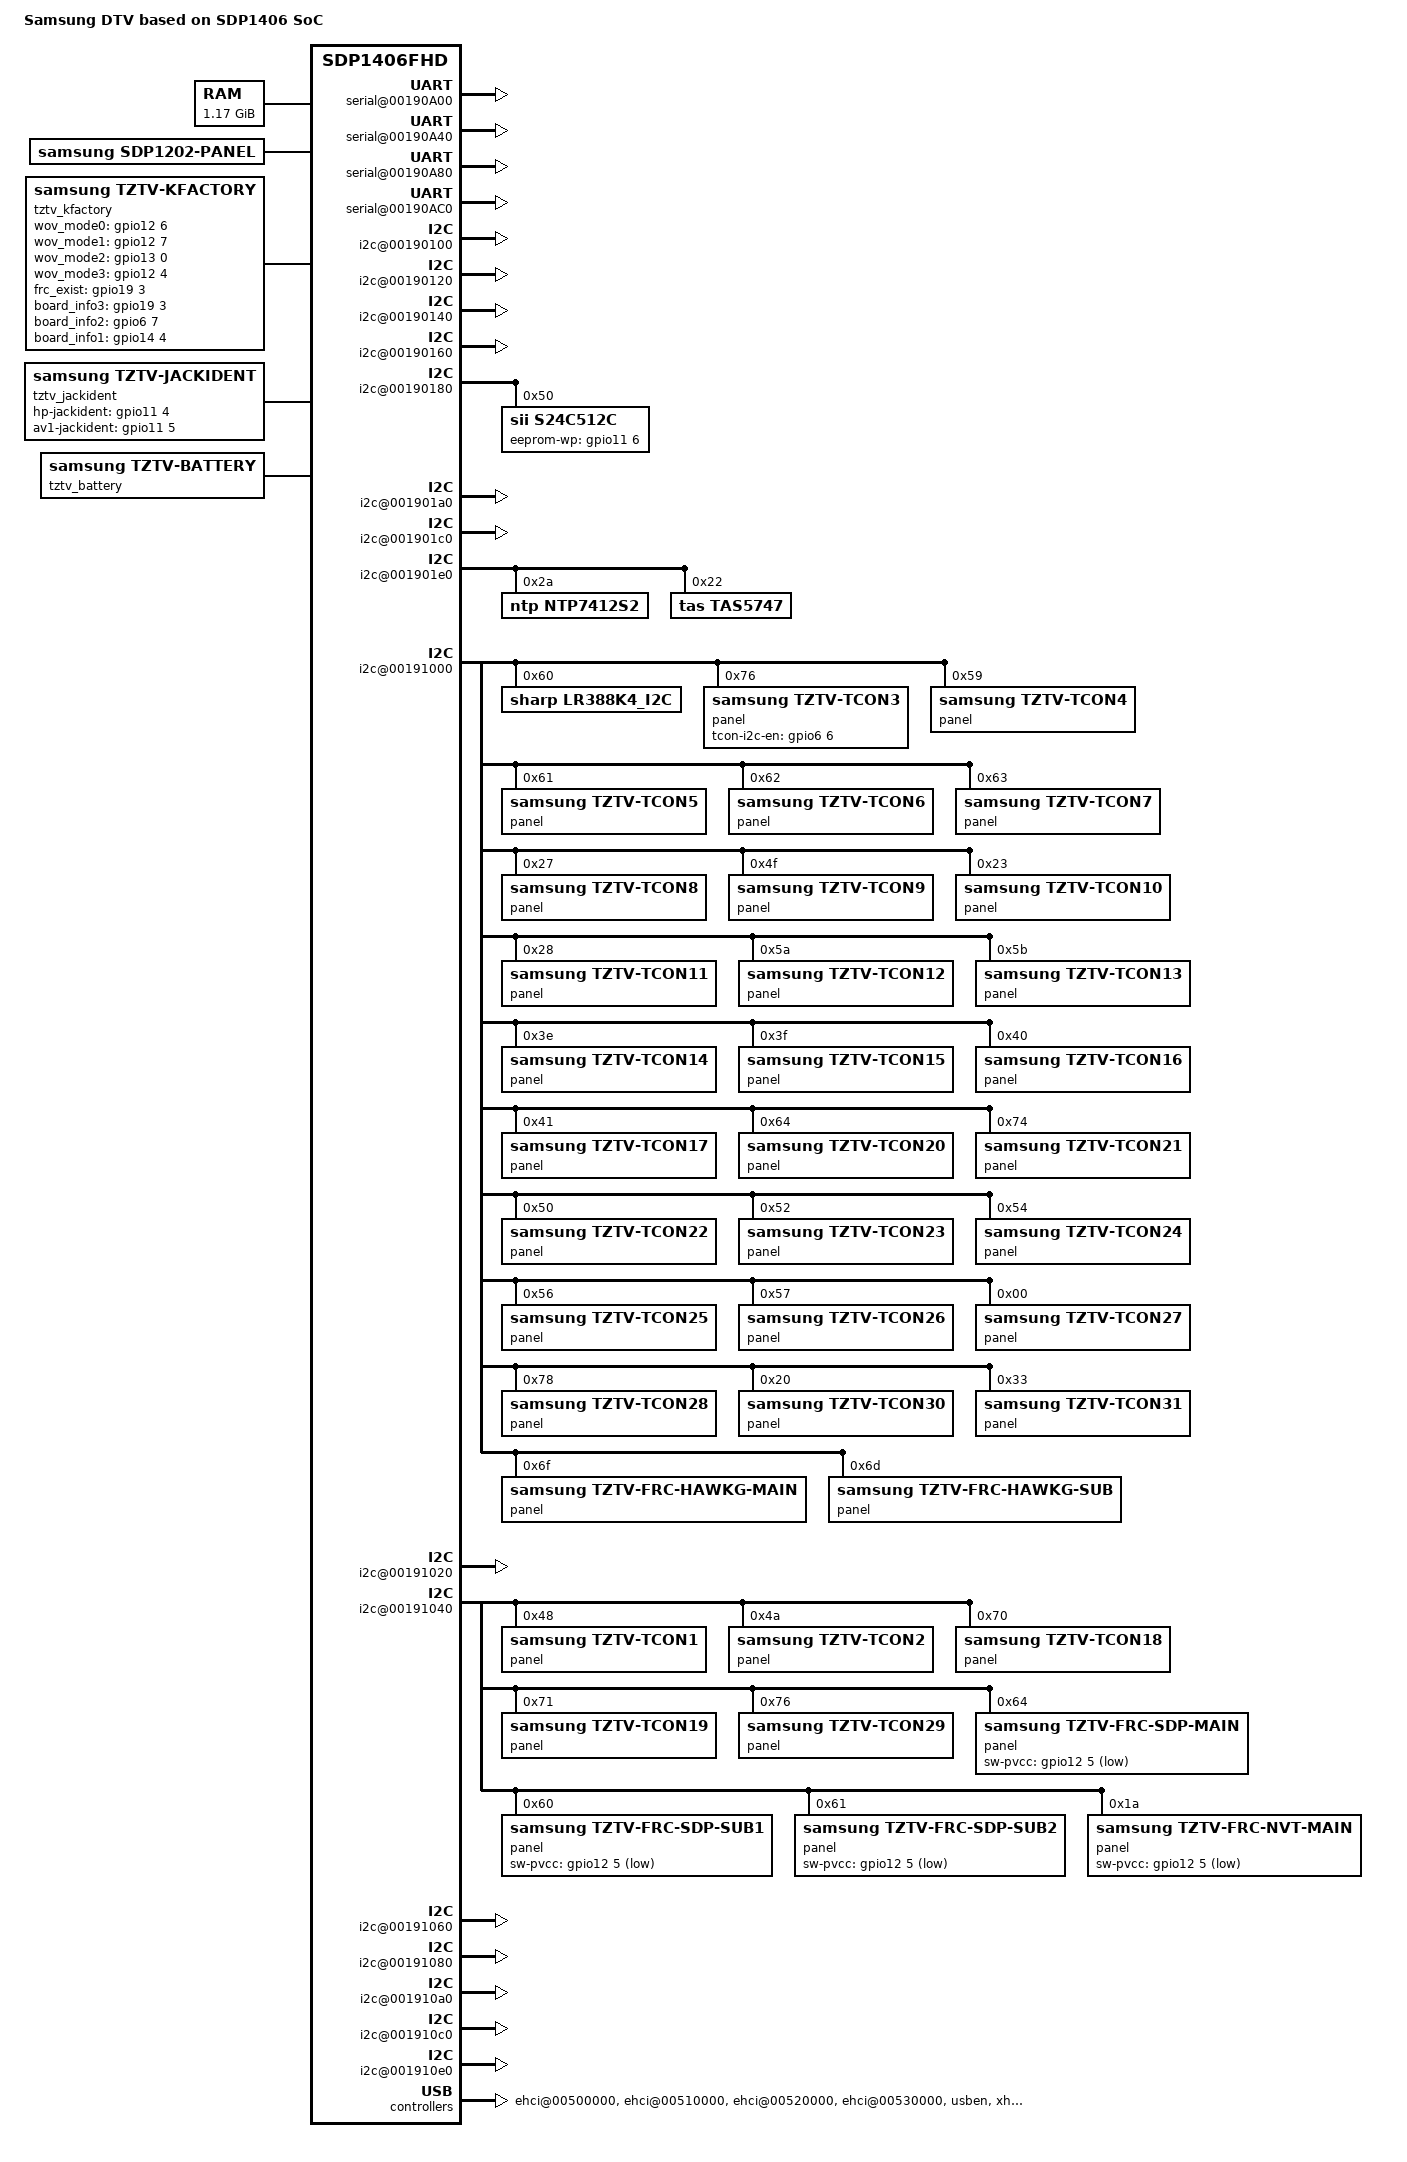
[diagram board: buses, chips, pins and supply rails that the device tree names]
/*
 * Copyright (C) 2014 Samsung Electronics Co.Ltd
 *
 * This program is free software; you can redistribute it and/or modify
 * it under the terms of the GNU General Public License version 2 as
 * published by the Free Software Foundation.
 */

/dts-v1/;
#include "sdp1406.dtsi"

/ {
	model = "Samsung DTV based on SDP1406 SoC";
	compatible = "samsung,dtv", "samsung,sdp1406fhd";

	memory {
		device_type = "memory";
		reg = <0x1000000 0x1F000000>, <0x22800000 0x15000000>, <0x40000000 0x17000000>;
	};

	chosen {
		bootargs = __STR__(dtsversion=__DTS_VERSION__ root=/dev/mmcblk0p22 init=/sbin/init rootfstype=vdfs RO_PARAM console=ttyS0,115200N8 SELP_ENABLE=00000000 rootwait no_console_suspend earlyprintk sdp_sparsemem vmalloc=550M mtv QUIET_PARAM TRACING_PARAM ROOT_PARAM);
	};

	fixed-rate-clocks {
		fin {
			compatible = "samsung,sdp-clock-fin";
			clock-frequency = <24576000>;
		};
	};

	mmc {
		tuning_sam_hs400_default = <0x001000A8 0x000000CF 0x00000041>,
					<0x00100188 0x000003FF 0x000000B0>;/* fhd read dqs delay(44step) */

//		hs200;
//		hs200-tuning;
		hs400;
	};

	/* MTV Board is not use EMAC */
	ethernet {
		//status = "disabled";
	};

	serial@00190A00 {
		status = "okay";
	};

	serial@00190A40 {
		status = "okay";
	};

	serial@00190A80 {
		status = "okay";
	};

	serial@00190AC0 {
		compatible = "samsung,sdp1304-uart-micom";
		status = "okay";
	};

	pinctrl{
		compatible = "samsung,sdp-pinctrl";
		reg = <0x005C1000 0x230>;
		start-offset = <0x118>;
		nr-banks = <23>;
		model-sel = <1>;
	};

	i2c@00190100 {
		status = "okay";
		samsung,i2c-sda-delay = <1>;
		samsung,i2c-max-bus-freq = <400000>;
		samsung,i2c-irq-status-reg = <0x001901f4>;
		samsung,i2c-cpu-affinity = <3>;
	};

	i2c@00190120 {
		status = "okay";
		samsung,i2c-sda-delay = <1>;
		samsung,i2c-max-bus-freq = <400000>;
		samsung,i2c-irq-status-reg = <0x001901f4>;
		samsung,i2c-cpu-affinity = <3>;
	};

	i2c@00190140 {
		status = "okay";
		samsung,i2c-sda-delay = <1>;
		samsung,i2c-max-bus-freq = <400000>;
		samsung,i2c-irq-status-reg = <0x001901f4>;
		samsung,i2c-cpu-affinity = <3>;
	};

	i2c@00190160 {
		status = "okay";
		samsung,i2c-sda-delay = <1>;
		samsung,i2c-max-bus-freq = <400000>;
		samsung,i2c-irq-status-reg = <0x001901f4>;
		samsung,i2c-cpu-affinity = <3>;
	};

	i2c@00190180 {
		status = "okay";
		samsung,i2c-sda-delay = <1>;
		samsung,i2c-max-bus-freq = <400000>;
		samsung,i2c-irq-status-reg = <0x001901f4>;
		samsung,i2c-cpu-affinity = <3>;
                s24c512c@50 {
                        compatible = "sii,s24c512c";
                        reg = <0x50>;
                        samsung,eeprom-wp = <&gpio11 6 0>;
                };
	};

	i2c@001901a0 {
		status = "okay";
		samsung,i2c-sda-delay = <1>;
		samsung,i2c-max-bus-freq = <400000>;
		samsung,i2c-irq-status-reg = <0x001901f4>;
		samsung,i2c-cpu-affinity = <3>;
	};

	i2c@001901c0 {
		status = "okay";
		samsung,i2c-sda-delay = <1>;
		samsung,i2c-max-bus-freq = <400000>;
		samsung,i2c-irq-status-reg = <0x001901f4>;
		samsung,i2c-cpu-affinity = <3>;
	};

	i2c@001901e0 {
		status = "okay";
		samsung,i2c-sda-delay = <1>;
		samsung,i2c-max-bus-freq = <400000>;
		samsung,i2c-irq-status-reg = <0x001901f4>;
		samsung,i2c-cpu-affinity = <3>;

		/* Amp */
		ntp7412s2@2A {
			compatible = "ntp,ntp7412s2";
			reg = <0x2A>;
		};

		/* Amp */
		tas5747@22 {
			compatible = "tas,tas5747";
			reg = <0x22>;
		};
	};

	i2c@00191000 {
		status = "okay";
		samsung,i2c-sda-delay = <1>;
		samsung,i2c-max-bus-freq = <400000>;
		samsung,i2c-irq-status-reg = <0x001910f4>;
		samsung,i2c-cpu-affinity = <3>;



                /*Touch 0x60 */
                lr388k4_i2c@60 {
                         compatible = "sharp,lr388k4_i2c";
                         reg = <0x60>;
                };
		
		/* panel 0xEC */
		panel@76 {
			compatible = "samsung,tztv-tcon3";
			samsung,tcon-i2c-en = <&gpio6 6 0>;
			reg = <0x76>;
		};

		/* panel 0xC0 */
		panel@59 {
			compatible = "samsung,tztv-tcon4";
			reg = <0x59>;
		};

		/* panel 0xC2 */
		panel@61 {
			compatible = "samsung,tztv-tcon5";
			reg = <0x61>;
		};

		/* panel 0xC4 */
		panel@62 {
			compatible = "samsung,tztv-tcon6";
			reg = <0x62>;
		};

		/* panel 0xC6 */
		panel@63 {
			compatible = "samsung,tztv-tcon7";
			reg = <0x63>;
		};

		/* panel 0x4E */
		panel@27 {
			compatible = "samsung,tztv-tcon8";
			reg = <0x27>;
		};

		/* panel 0x9E */
		panel@4F {
			compatible = "samsung,tztv-tcon9";
			reg = <0x4F>;
		};

		/* panel 0x46 */
		panel@23 {
			compatible = "samsung,tztv-tcon10";
			reg = <0x23>;
		};

		/* panel 0x50 */
		panel@28 {
			compatible = "samsung,tztv-tcon11";
			reg = <0x28>;
		};

		/* panel 0xB4 */
		panel@5A {
			compatible = "samsung,tztv-tcon12";
			reg = <0x5A>;
		};

		/* panel 0xB6 */
		panel@5B {
			compatible = "samsung,tztv-tcon13";
			reg = <0x5B>;
		};

		/* panel 0x7C */
		panel@3E {
			compatible = "samsung,tztv-tcon14";
			reg = <0x3E>;
		};

		/* panel 0x7E */
		panel@3F {
			compatible = "samsung,tztv-tcon15";
			reg = <0x3F>;
		};

		/* panel 0x80 */
		panel@40 {
			compatible = "samsung,tztv-tcon16";
			reg = <0x40>;
		};

		/* panel 0x82 */
		panel@41 {
			compatible = "samsung,tztv-tcon17";
			reg = <0x41>;
		};

		/* panel 0xC8 */
		panel@64 {
			compatible = "samsung,tztv-tcon20";
			reg = <0x64>;
		};

		/* panel 0xE8 */
		panel@74 {
			compatible = "samsung,tztv-tcon21";
			reg = <0x74>;
		};

		/* panel 0xA0 */
		panel@50 {
			compatible = "samsung,tztv-tcon22";
			reg = <0x50>;
		};

		/* panel 0xA4 */
		panel@52 {
			compatible = "samsung,tztv-tcon23";
			reg = <0x52>;
		};

		/* panel 0xA8 */
		panel@54 {
			compatible = "samsung,tztv-tcon24";
			reg = <0x54>;
		};

		/* panel 0xAC */
		panel@56 {
			compatible = "samsung,tztv-tcon25";
			reg = <0x56>;
		};

		/* panel 0xAE */
		panel@57 {
			compatible = "samsung,tztv-tcon26";
			reg = <0x57>;
		};

		/* panel 0x00 */
		panel@00 {
			compatible = "samsung,tztv-tcon27";
			reg = <0x00>;
		};

		/* panel 0xF0 */
		panel@78 {
			compatible = "samsung,tztv-tcon28";
			reg = <0x78>;
		};

		/* panel 0x40 */
		panel@20 {
			compatible = "samsung,tztv-tcon30";
			reg = <0x20>;
		};

		/* panel 0x66 */
		panel@33 {
			compatible = "samsung,tztv-tcon31";
			reg = <0x33>;
		};

		/* panel 0xDE */
		panel@6F {
			compatible = "samsung,tztv-frc-hawkg-main";
			reg = <0x6F>;
		};

		/* panel 0xDA */
		panel@6D {
			compatible = "samsung,tztv-frc-hawkg-sub";
			reg = <0x6D>;
		};
	};

	i2c@00191020 {
		status = "okay";
		samsung,i2c-sda-delay = <1>;
		samsung,i2c-max-bus-freq = <400000>;
		samsung,i2c-irq-status-reg = <0x001910f4>;
		samsung,i2c-pad-enable = <0x005C1040 0x800000>;
		samsung,i2c-cpu-affinity = <3>;
	};

	i2c@00191040 {
		status = "okay";
		samsung,i2c-sda-delay = <1>;
		samsung,i2c-max-bus-freq = <400000>;
		samsung,i2c-irq-status-reg = <0x001910f4>;
	//	samsung,i2c-pad-enable = <0x10030000 0x80000000>;// Mux HS
		samsung,i2c-cpu-affinity = <3>;

		/* panel 0x90 */
		panel@48 {
			compatible = "samsung,tztv-tcon1";
			reg = <0x48>;
		};

		/* panel 0x94 */
		panel@4A {
			compatible = "samsung,tztv-tcon2";
			reg = <0x4A>;
		};

		/* panel 0xE0 */
		panel@70 {
			compatible = "samsung,tztv-tcon18";
			reg = <0x70>;
		};

		/* panel 0xE2 */
		panel@71 {
			compatible = "samsung,tztv-tcon19";
			reg = <0x71>;
		};

		/* panel 0xEC DUAL */
		panel@76 {
			compatible = "samsung,tztv-tcon29";
			reg = <0x76>;
		};

		/* panel C8 */
		panel@64 {
			compatible = "samsung,tztv-frc-sdp-main";
			samsung,sw-pvcc = <&gpio12 5 1>;
			reg = <0x64>;
		};

		/* panel C0 SUB */
		panel@60 {
			compatible = "samsung,tztv-frc-sdp-sub1";
			samsung,sw-pvcc = <&gpio12 5 1>;
			reg = <0x60>;
		};

		/* panel C2 SUB */
		panel@61 {
			compatible = "samsung,tztv-frc-sdp-sub2";
			samsung,sw-pvcc = <&gpio12 5 1>;
			 reg = <0x61>;
		};

		/* panel 34 */
		panel@1A {
			compatible = "samsung,tztv-frc-nvt-main";
			samsung,sw-pvcc = <&gpio12 5 1>;
			 reg = <0x1A>;
		};
	};

	i2c@00191060 {
		status = "okay";
		samsung,i2c-sda-delay = <1>;
		samsung,i2c-max-bus-freq = <400000>;
		samsung,i2c-irq-status-reg = <0x001910f4>;
		samsung,i2c-pad-enable = <0x005C1040 0x1000000>;
		samsung,i2c-cpu-affinity = <3>;
	};

	i2c@00191080 {
		status = "okay";
		samsung,i2c-sda-delay = <1>;
		samsung,i2c-max-bus-freq = <400000>;
		samsung,i2c-irq-status-reg = <0x001910f4>;
		samsung,i2c-pad-enable = <0x005C1040 0x2000000>;
		samsung,i2c-cpu-affinity = <3>;
	};

	i2c@001910a0 {
		status = "okay";
		samsung,i2c-sda-delay = <1>;
		samsung,i2c-max-bus-freq = <400000>;
		samsung,i2c-irq-status-reg = <0x001910f4>;
		samsung,i2c-cpu-affinity = <3>;
	};

	i2c@001910c0 {
		status = "okay";
		samsung,i2c-sda-delay = <1>;
		samsung,i2c-max-bus-freq = <400000>;
		samsung,i2c-irq-status-reg = <0x001910f4>;
		samsung,i2c-pad-enable = <0x005C1044 0x8000000>;
		samsung,i2c-cpu-affinity = <3>;
	};

	i2c@001910e0 {
		status = "okay";
		samsung,i2c-sda-delay = <1>;
		samsung,i2c-max-bus-freq = <400000>;
		samsung,i2c-irq-status-reg = <0x001910f4>;
		samsung,i2c-pad-enable = <0x005C1044 0x10000000>;
		samsung,i2c-cpu-affinity = <3>;

	};

	panel: panel {
		compatible = "samsung,sdp1202-panel";

	};

	dummy_panel {
		compatible = "dummy_panel";

		panel = <&panel>;

		display-timings {
			native-mode = <&timing0>;

			timing0: timing-0 {
				 clock-frequency = <0>;
				 hactive = <1920>;
				 vactive = <1080>;
				 hfront-porch = <0>;
				 hback-porch = <0>;
				 hsync-len = <0>;
				 vfront-porch = <0>;
				 vback-porch = <0>;
				 vsync-len = <0>;
			};
		};
	};

	ehci@00500000 {
		status = "okay";
	/*	samsung,sw-reset = <0x005C0000 0xE4 0x1000>;
		samsung,ehci-gpr_reg = <0x00540000 0x04 0x7000>;
		samsung,ehci-gpr_reg1 = <0x00540000 0x0C 0x100C0>;
		samsung,sw-reset-release = <0x005C0000 0xE4 0x1000>;*/
	};

        ehci@00510000 {
		status = "okay";
	/*	samsung,sw-reset = <0x005C0000 0xE4 0x2000>;
		samsung,ehci-gpr_reg = <0x00540000 0x18 0x7000>;
		samsung,ehci-gpr_reg1 = <0x00540000 0x20 0x100C0>;
		samsung,sw-reset-release = <0x005C0000 0xE4 0x2000>;*/
	};

	ehci@00520000 {
		status = "okay";
	/*	samsung,sw-reset = <0x005C0000 0xE4 0x4000>;
		samsung,ehci-gpr_reg = <0x00540000 0x2c 0x7000>;
		samsung,ehci-gpr_reg1 = <0x00540000 0x34 0x100C0>;
		samsung,sw-reset-release = <0x005C0000 0xE4 0x4000>;*/
	};

	ehci@00530000 {
		status = "okay";
	/*	samsung,sw-reset = <0x005C0000 0xE4 0x8000>;
		samsung,ehci-gpr_reg = <0x00540000 0x40 0x7000>;
		samsung,ehci-gpr_reg1 = <0x00540000 0x48 0x100C0>;
		samsung,sw-reset-release = <0x005C0000 0xE4 0x8000>;*/
	};

	usben {
		status = "okay";
		samsung,usb-enable = <&gpio13 1 0>;
	};

	xhci@00400000 {
		status = "okay";
	};


	ohci@00508000 {
		status = "okay";
	};

	ohci@00518000 {
		status = "okay";
	};

	ohci@00528000 {
		status = "okay";
	};

	ohci@00538000 {
		status = "okay";
	};

	sdp_mfc@0x00a40000 {
		samsung,bus-mode = "2bus-a";
		samsung,fw-name = "sdp_mfc/ucode-mfc.fw";
		samsung,fw-size = <0x300000>;
		xmif_a_reg = <0x00F10700>;
		xmif_b_reg = <0x00F20700>;
		xmif_c_reg = <0x00F30700>;
	};

	dvb {
		compatible = "samsung,sdp-dvb";
	};

	tztv_tuner {
		compatible = "samsung,tztv-tuner";
	};

	tztv_kfactory {
		compatible = "samsung,tztv-kfactory";
		samsung,wov_mode0 = <&gpio12 6 0>;
		samsung,wov_mode1 = <&gpio12 7 0>;
		samsung,wov_mode2 = <&gpio13 0 0>;
		samsung,wov_mode3 = <&gpio12 4 0>;
		samsung,frc_exist = <&gpio19 3 0>;
		samsung,board_info3 = <&gpio19 3 0>;
		samsung,board_info2 = <&gpio6 7 0>;
		samsung,board_info1 = <&gpio14 4 0>;
		samsung,board_info0 = <&gpio7 0 0>;
		samsung,board_info_ocm = <&gpio13 0 0>;
		samsung,usb_enable = <&gpio13 1 0>;
	};

	tztv_jackident {
		compatible = "samsung,tztv-jackident";
		samsung,hp-jackident = <&gpio11 4 0>;
		samsung,av1-jackident = <&gpio11 5 0>;
	};

	tztv_battery {
		compatible = "samsung,tztv-battery";
	};

	sdp_uddec@00b00000 {
		samsung,bus-mode = "2bus-a";
		samsung,dram-base-a = <0x6b400000>;
		samsung,dram-base-b = <0x23000000>;
	};

	tps54527@7b {
		compatible = "regulator-sdpmicom";

		regulator-name = "CPU_PW";
		regulator-min-microvolt = <850000>;
		regulator-max-microvolt = <1000000>;
		regulator-always-on;
		regulator-boot-on;

		nr-gpios = <2>;
		default-state = <0>;
		cmd-addr = <0x7b>;
		states = <850000 3
			900000 2
			950000 1
			1000000 0>;
	};

	tps54627@7a {
		compatible = "regulator-sdpmicom";

		regulator-name = "CORE_PW";
		regulator-min-microvolt = <850000>;
		regulator-max-microvolt = <1000000>;
		regulator-always-on;
		regulator-boot-on;

		nr-gpios = <2>;
		default-state = <0>;
		cmd-addr = <0x7a>;
		states = <850000 3
			900000 2
			950000 1
			1000000 0>;
	};

	sdp_mmap {
		compatible = "samsung,sdp-mmap";

		samsung,cursor = <0x0 0x22600000 0x180000>;
		samsung,dp-ttx-vbi = <0x0 0x22780000 0x40000>;
		samsung,align2 = <0x0 0x22780000 0x40000>;
		samsung,gfx0 = <0x0 0x37800000 0x1000000>;
		samsung,gfx1 = <0x0 0x38800000 0x1000000>;
		samsung,gfx2 = <0x0 0x39800000 0x0>;
		samsung,gen-ga = <0x0 0x39800000 0x0>;
		samsung,gfx-capture = <0x0 0x39800000 0x0>;
		samsung,ae0 = <0x0 0x39800000 0x1200000>;
		samsung,mfc-a = <0x0 0x3AA00000 0x1600000>;
		samsung,hen-a = <0x0 0x3C000000 0x500000>;
		samsung,tfc-out-y = <0x0 0x3C500000 0x0>;
		samsung,dp0 = <0x0 0x3C500000 0x24C0000>;
		samsung,dp2 = <0x0 0x3E9C0000 0xE40000>;
		samsung,dp-bg-y = <0x0 0x3F800000 0x0>;
		samsung,dp-bg-c = <0x0 0x3F800000 0x0>;
		samsung,emergency_log = <0x0 0x3F800000 0x40000>;
		samsung,align0 = <0x0 0x3F840000 0x240000>;
		samsung,chdec = <0x0 0x3FA80000 0x480000>;
		samsung,str = <0x0 0x3FF00000 0x100000>;

		samsung,se-tz = <0x0 0x57000000 0x200000>;
		samsung,mfc-b = <0x0 0x57200000 0x4280000>;
		samsung,hen-b = <0x0 0x5B480000 0x180000>;
		samsung,dp-enc = <0x0 0x5B600000 0x300000>;
		samsung,tfc-out-c = <0x0 0x5B900000 0x0>;
		samsung,dp1 = <0x0 0x5B900000 0x2440000>;
		samsung,dp3 = <0x0 0x5DD40000 0xB80000>;
		samsung,dp-oce = <0x0 0x5E8C0000 0x40000>;
		samsung,dp-cw-y = <0x0 0x5E9C0000 0x200000>;
		samsung,dp-cw-c = <0x0 0x5EB00000 0x200000>;
		samsung,dp-vt-c = <0x0 0x5ED00000 0x0>;
		samsung,dp-vt-y = <0x0 0x5ED00000 0x0>;
		samsung,tfc-capture-y = <0x0 0x5ED00000 0x0>;
		samsung,tfc-capture-c = <0x0 0x5ED00000 0x0>;
		samsung,avd = <0x0 0x5ED00000 0x600000>;
		samsung,tsd = <0x0 0x5F300000 0x300000>;
		samsung,ace-scaler = <0x0 0x5F600000 0x0>;
		samsung,pvr = <0x0 0x5F600000 0x700000>;
		samsung,align1 = <0x0 0x5FD00000 0x300000>;

	};

};
